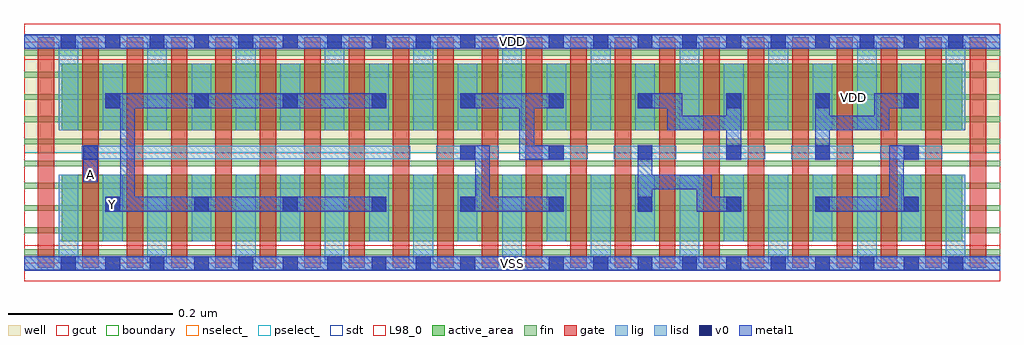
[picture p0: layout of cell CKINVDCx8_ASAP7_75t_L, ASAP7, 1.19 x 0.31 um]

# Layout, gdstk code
import gdstk
lib = gdstk.Library(unit=1e-6, precision=2.5e-10)
def R(c, l, rs):  # rectangles x0, y0, x1, y1
    for r in rs: c.add(gdstk.rectangle(r[:2], r[2:], *l))
def A(c, l, x, y, w, h, nx, ny, dx, dy):  # array of equal rectangles
    R(c, l, [(x+i*dx, y+j*dy, x+i*dx+w, y+j*dy+h) for i in range(nx) for j in range(ny)])
def P(c, l, *ps):  # polygons
    for p in ps: c.add(gdstk.Polygon(p, *l))
well = (1, 0)
fin = (2, 0)
gate = (7, 0)
gcut = (10, 0)
active_area = (11, 0)
nselect_ = (12, 0)
pselect_ = (13, 0)
lig = (16, 0)
lisd = (17, 0)
v0 = (18, 0)
metal1 = (19, 0)
sdt = (88, 0)
L98_0 = (98, 0)
boundary = (100, 0)

ckinvdcx8_asap7_75t_l = lib.new_cell('CKINVDCx8_ASAP7_75t_L')
R(ckinvdcx8_asap7_75t_l, well, [(0,0.135,1.188,0.27)])
A(ckinvdcx8_asap7_75t_l, fin, 0, 0.01, 1.188, 0.007, 1, 10, 0, 0.027)
A(ckinvdcx8_asap7_75t_l, gate, 0.017, -0.005, 0.02, 0.28, 22, 1, 0.054, 0)
R(ckinvdcx8_asap7_75t_l, gcut, [(0,-0.022,1.188,0.022), (0,0.248,1.188,0.292)])
R(ckinvdcx8_asap7_75t_l, active_area, [(0.046,0.027,1.142,0.108), (0.046,0.162,1.142,0.243)])
R(ckinvdcx8_asap7_75t_l, nselect_, [(0,0,1.188,0.135)])
R(ckinvdcx8_asap7_75t_l, pselect_, [(0,0.135,1.188,0.27)])
A(ckinvdcx8_asap7_75t_l, lig, 0.502, 0.127, 0.076, 0.016, 6, 1, 0.108, 0)
R(ckinvdcx8_asap7_75t_l, lig, [(0,-0.008,1.188,0.008), (0.07,0.127,0.47,0.143), (0,0.262,1.188,0.278)])
A(ckinvdcx8_asap7_75t_l, lisd, 0.042, 0, 0.024, 0.108, 11, 2, 0.108, 0.162)
A(ckinvdcx8_asap7_75t_l, lisd, 0.096, 0.027, 0.024, 0.081, 10, 2, 0.108, 0.135)
A(ckinvdcx8_asap7_75t_l, v0, 0.045, -0.009, 0.018, 0.018, 21, 2, 0.054, 0.27)
A(ckinvdcx8_asap7_75t_l, v0, 0.099, 0.063, 0.018, 0.018, 10, 2, 0.108, 0.126)
A(ckinvdcx8_asap7_75t_l, v0, 0.531, 0.126, 0.018, 0.018, 6, 1, 0.108, 0)
R(ckinvdcx8_asap7_75t_l, v0, [(0.072,0.126,0.09,0.144)])
R(ckinvdcx8_asap7_75t_l, metal1, [(0,-0.009,1.188,0.009), (0.072,0.099,0.09,0.144), (0,0.261,1.188,0.279)])
P(ckinvdcx8_asap7_75t_l, metal1, [(1.089,0.081),(1.071,0.081),(1.071,0.126),(1.089,0.126),(1.089,0.144),(1.053,0.144),(1.053,0.081),(0.963,0.081),(0.963,0.063),(1.089,0.063)],
  [(0.765,0.09),(0.819,0.09),(0.819,0.063),(0.873,0.063),(0.873,0.081),(0.837,0.081),(0.837,0.108),(0.765,0.108),(0.765,0.144),(0.747,0.144),(0.747,0.063),(0.765,0.063)],
  [(0.657,0.081),(0.567,0.081),(0.567,0.144),(0.531,0.144),(0.531,0.126),(0.549,0.126),(0.549,0.081),(0.531,0.081),(0.531,0.063),(0.657,0.063)],
  [(1.089,0.207),(1.035,0.207),(1.035,0.18),(0.981,0.18),(0.981,0.207),(0.963,0.207),(0.963,0.126),(0.981,0.126),(0.981,0.162),(1.053,0.162),(1.053,0.189),(1.089,0.189)],
  [(0.873,0.207),(0.855,0.207),(0.855,0.18),(0.801,0.18),(0.801,0.207),(0.747,0.207),(0.747,0.189),(0.783,0.189),(0.783,0.162),(0.855,0.162),(0.855,0.126),(0.873,0.126)],
  [(0.657,0.144),(0.621,0.144),(0.621,0.189),(0.657,0.189),(0.657,0.207),(0.531,0.207),(0.531,0.189),(0.603,0.189),(0.603,0.126),(0.657,0.126)],
  [(0.441,0.081),(0.135,0.081),(0.135,0.189),(0.441,0.189),(0.441,0.207),(0.099,0.207),(0.099,0.189),(0.117,0.189),(0.117,0.081),(0.099,0.081),(0.099,0.063),(0.441,0.063)])
A(ckinvdcx8_asap7_75t_l, sdt, 0.042, 0.027, 0.024, 0.081, 21, 2, 0.054, 0.135)
R(ckinvdcx8_asap7_75t_l, L98_0, [(0,0,1.188,0.27)])
R(ckinvdcx8_asap7_75t_l, boundary, [(0,0,1.188,0.27)])
ckinvdcx8_asap7_75t_l.add(gdstk.Label('Y', (0.108,0.072), layer=19, texttype=251))
ckinvdcx8_asap7_75t_l.add(gdstk.Label('A', (0.081,0.108), layer=19, texttype=251))
ckinvdcx8_asap7_75t_l.add(gdstk.Label('VSS', (0.594,0), layer=19, texttype=251))
ckinvdcx8_asap7_75t_l.add(gdstk.Label('VDD', (0.594,0.27), layer=19, texttype=251))
ckinvdcx8_asap7_75t_l.add(gdstk.Label('VDD', (1.0097,0.2025), layer=1, texttype=251))
ckinvdcx8_asap7_75t_l.add(gdstk.Label('VSS', (1.3662,0.2025), layer=3, texttype=251))

lib.write_gds('CKINVDCx8_ASAP7_75t_L.gds')
